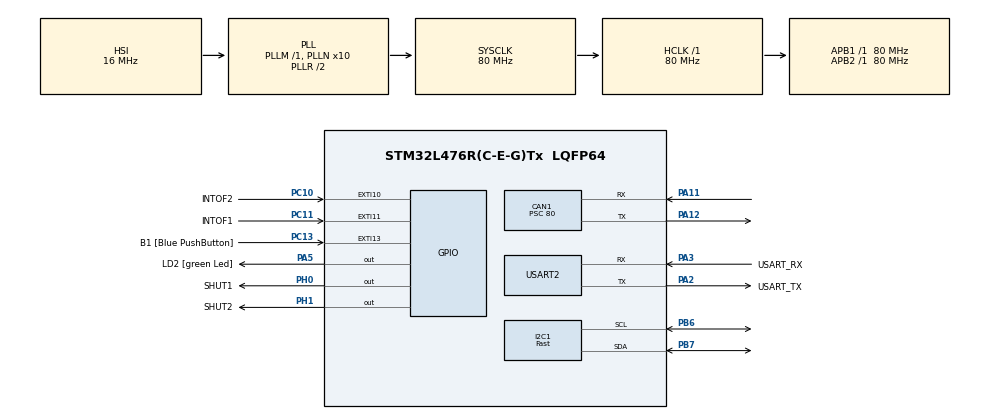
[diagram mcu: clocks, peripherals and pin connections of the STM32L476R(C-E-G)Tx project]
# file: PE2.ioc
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CAN1.BS1=CAN_BS1_6TQ
CAN1.BS2=CAN_BS2_3TQ
CAN1.CalculateBaudRate=100000
CAN1.CalculateTimeBit=10000
CAN1.CalculateTimeQuantum=1000.0
CAN1.Prescaler=80
I2C1.I2C_Speed_Mode=I2C_Fast
I2C1.Timing=0x00F12981
Mcu.Family=STM32L4
Mcu.Name=STM32L476R(C-E-G)Tx
Mcu.Package=LQFP64
NVIC.CAN1_RX0_IRQn=true\:0\:0\:false\:false\:true\:true\:true\:true
NVIC.CAN1_RX1_IRQn=true\:0\:0\:false\:false\:true\:true\:true\:true
NVIC.CAN1_SCE_IRQn=true\:0\:0\:false\:false\:true\:true\:true\:true
NVIC.CAN1_TX_IRQn=true\:0\:0\:false\:false\:true\:true\:true\:true
NVIC.EXTI15_10_IRQn=true\:0\:0\:false\:false\:true\:true\:true\:true
NVIC.PriorityGroup=NVIC_PRIORITYGROUP_4
NVIC.TIM7_IRQn=true\:0\:0\:false\:false\:true\:true\:true\:true
PA11.Mode=CAN_Activate
PA11.Signal=CAN1_RX
PA12.Mode=CAN_Activate
PA12.Signal=CAN1_TX
PA13\ (JTMS-SWDIO).GPIO_Label=TMS
PA13\ (JTMS-SWDIO).Mode=Serial_Wire
PA13\ (JTMS-SWDIO).Signal=SYS_JTMS-SWDIO
PA14\ (JTCK-SWCLK).GPIO_Label=TCK
PA14\ (JTCK-SWCLK).Mode=Serial_Wire
PA14\ (JTCK-SWCLK).Signal=SYS_JTCK-SWCLK
PA2.GPIO_Label=USART_TX
PA2.GPIO_Mode=GPIO_MODE_AF_PP
PA2.GPIO_PuPd=GPIO_NOPULL
PA2.GPIO_Speed=GPIO_SPEED_FREQ_VERY_HIGH
PA2.Mode=Asynchronous
PA2.Signal=USART2_TX
PA3.GPIO_Label=USART_RX
PA3.GPIO_Mode=GPIO_MODE_AF_PP
PA3.GPIO_PuPd=GPIO_NOPULL
PA3.GPIO_Speed=GPIO_SPEED_FREQ_VERY_HIGH
PA3.Mode=Asynchronous
PA3.Signal=USART2_RX
PA5.GPIO_Label=LD2 [green Led]
PA5.GPIO_ModeDefaultOutputPP=GPIO_MODE_OUTPUT_PP
PA5.GPIO_PuPd=GPIO_NOPULL
PA5.GPIO_Speed=GPIO_SPEED_FREQ_LOW
PA5.Signal=GPIO_Output
PB3\ (JTDO-TRACESWO).GPIO_Label=SWO
PB3\ (JTDO-TRACESWO).Signal=SYS_JTDO-SWO
PB6.Mode=I2C
PB6.Signal=I2C1_SCL
PB7.Mode=I2C
PB7.Signal=I2C1_SDA
PC10.GPIO_Label=INTOF2
PC10.GPIO_ModeDefaultEXTI=GPIO_MODE_IT_FALLING
PC10.Signal=GPXTI10
PC11.GPIO_Label=INTOF1
PC11.GPIO_ModeDefaultEXTI=GPIO_MODE_IT_FALLING
PC11.Signal=GPXTI11
PC13.GPIO_Label=B1 [Blue PushButton]
PC13.GPIO_ModeDefaultEXTI=GPIO_MODE_IT_FALLING
PC13.GPIO_PuPd=GPIO_NOPULL
PC13.Signal=GPXTI13
PC14-OSC32_IN\ (PC14).Mode=LSE-External-Oscillator
PC14-OSC32_IN\ (PC14).Signal=RCC_OSC32_IN
PC15-OSC32_OUT\ (PC15).Mode=LSE-External-Oscillator
PC15-OSC32_OUT\ (PC15).Signal=RCC_OSC32_OUT
PH0-OSC_IN\ (PH0).GPIO_Label=SHUT1
PH0-OSC_IN\ (PH0).Signal=GPIO_Output
PH1-OSC_OUT\ (PH1).GPIO_Label=SHUT2
PH1-OSC_OUT\ (PH1).Signal=GPIO_Output
ProjectManager.HeapSize=0x200
ProjectManager.StackSize=0x400
ProjectManager.TargetToolchain=STM32CubeIDE
RCC.ADCFreq_Value=64000000
RCC.AHBFreq_Value=80000000
RCC.APB1Freq_Value=80000000
RCC.APB1TimFreq_Value=80000000
RCC.APB2Freq_Value=80000000
RCC.APB2TimFreq_Value=80000000
RCC.CortexFreq_Value=80000000
RCC.HCLKFreq_Value=80000000
RCC.HSE_VALUE=8000000
RCC.HSI_VALUE=16000000
RCC.MSI_VALUE=4000000
RCC.PLLN=10
RCC.PLLSourceVirtual=RCC_PLLSOURCE_HSI
RCC.PREFETCH_ENABLE=1
RCC.SYSCLKFreq_VALUE=80000000
RCC.SYSCLKSource=RCC_SYSCLKSOURCE_PLLCLK
RCC.USBFreq_Value=64000000
RCC.VCOOutputFreq_Value=160000000
TIM7.Period=2000-1
TIM7.Prescaler=40000-1
USART2.VirtualMode-Asynchronous=VM_ASYNC
VP_TIM7_VS_ClockSourceINT.Mode=Enable_Timer
board=NUCLEO-L476RG

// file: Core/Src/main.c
/* USER CODE BEGIN Header */
/**
  ******************************************************************************
  * @file           : main.c
  * @brief          : Main program body
  ******************************************************************************
  * @attention
  *
  * Copyright (c) 2025 STMicroelectronics.
  * All rights reserved.
  *
  * This software is licensed under terms that can be found in the LICENSE file
  * in the root directory of this software component.
  * If no LICENSE file comes with this software, it is provided AS-IS.
  *
  ******************************************************************************
  */
/* USER CODE END Header */
#include "main.h"

/* USER CODE BEGIN Includes */

 #include"ssd1306.h"
#include "../../Drivers/VL53L1_Nucleo/core/inc/vl53l1_api.h"
/* USER CODE END Includes */

/* USER CODE BEGIN PD */

VL53L1_Dev_t devLeft;
VL53L1_Dev_t devRight;
VL53L1_DEV Dev;
VL53L1_DEV Dev2;
uint8_t ToFSensor = 0;
uint8_t ToFSensor2 = 0;
VL53L1_RangingMeasurementData_t RangingData;
VL53L1_RangingMeasurementData_t RangingData2;
uint16_t Dist_Obst_G;
uint16_t Dist_Obst_G2;
uint8_t txData[4];
char str[10];
/* USER CODE END PD */

/* USER CODE BEGIN PM */

void ResetAndInitializeTOF1(void );

void ResetAndInitializeTOF2(void );
/* USER CODE END PM */

CAN_HandleTypeDef hcan1;

I2C_HandleTypeDef hi2c1;

TIM_HandleTypeDef htim7;

UART_HandleTypeDef huart2;

/* USER CODE BEGIN PV */
uint16_t message;
CAN_TxHeaderTypeDef TxHeader;  // En-tête de la trame reçue
uint8_t TxData[2]; // Octets envoyés
uint16_t value1;
uint16_t value2;
uint32_t TxMailbox; // Identifiant de la mailbox d'émission
/* USER CODE END PV */

void SystemClock_Config(void);
static void MX_GPIO_Init(void);
static void MX_USART2_UART_Init(void);
static void MX_CAN1_Init(void);
static void MX_TIM7_Init(void);
static void MX_I2C1_Init(void);

int main(void)
{

  /* MCU Configuration--------------------------------------------------------*/

  /* Reset of all peripherals, Initializes the Flash interface and the Systick. */
  HAL_Init();

  /* Configure the system clock */
  SystemClock_Config();

  /* Initialize all configured peripherals */
  MX_GPIO_Init();
  MX_USART2_UART_Init();
  MX_CAN1_Init();
  MX_TIM7_Init();
  MX_I2C1_Init();
  /* USER CODE BEGIN 2 */
  HAL_TIM_Base_Start_IT(&htim7);

  	// Démarrage du bus CAN
  	HAL_CAN_Start(&hcan1);

  	// On choisit les callbacks d'interruptions
  	HAL_CAN_ActivateNotification(&hcan1,CAN_IT_RX_FIFO0_MSG_PENDING );
  	HAL_CAN_ActivateNotification(&hcan1,CAN_IT_TX_MAILBOX_EMPTY );

  	// Configuration des filtres
  	CAN_FilterTypeDef sFilterConfig;
  	sFilterConfig.FilterBank = 0;
  	sFilterConfig.FilterMode = CAN_FILTERMODE_IDLIST; // On donne une liste d'identifiants
  	sFilterConfig.FilterScale = CAN_FILTERSCALE_16BIT;
  	// Valeurs de l'ID à filtrer, codée sur 11 bits, alignée à gauche sur 16 bits
  	// ID = 0x11 = 00000010001 (11 bits)
  	// FILTRE = 0x220 = 00000010 00100000 (11 bits alignés à gauche dans un uint16_t)
  	sFilterConfig.FilterIdHigh = 0x0220; // soit 0x11 << 5
  	sFilterConfig.FilterIdLow = 0x0220;
  	sFilterConfig.FilterMaskIdHigh = 0x0220;
  	sFilterConfig.FilterMaskIdLow = 0x0220;
  	sFilterConfig.FilterFIFOAssignment = CAN_FILTER_FIFO0;
  	sFilterConfig.FilterActivation = ENABLE;
  	HAL_CAN_ConfigFilter(&hcan1, &sFilterConfig );

  	// Message à envoyer
  	TxHeader.IDE = CAN_ID_STD; // Identifiant codé sur 11 bits
  	TxHeader.RTR = CAN_RTR_DATA; // Trame de données
  	TxHeader.StdId = 0x11; // Identifiant

  	TxHeader.DLC = 4;
  	txData[0] = (value1 >> 8) & 0xFF;  // high byte of tof1
  	txData[1] = value1 & 0xFF;         // low byte of tof1
  	txData[2] = (value2 >> 8) & 0xFF;  // high byte of tof2
  	txData[3] = value2 & 0xFF;         // low byte of tof2

	 ResetAndInitializeTOF1();

	 ResetAndInitializeTOF2();
  /* USER CODE END 2 */

  /* Infinite loop */
  while (1)
  {

  }
}

void SystemClock_Config(void)
{
  RCC_OscInitTypeDef RCC_OscInitStruct = {0};
  RCC_ClkInitTypeDef RCC_ClkInitStruct = {0};

  /** Configure the main internal regulator output voltage
  */
  if (HAL_PWREx_ControlVoltageScaling(PWR_REGULATOR_VOLTAGE_SCALE1) != HAL_OK)
  {
    Error_Handler();
  }

  /** Initializes the RCC Oscillators according to the specified parameters
  * in the RCC_OscInitTypeDef structure.
  */
  RCC_OscInitStruct.OscillatorType = RCC_OSCILLATORTYPE_HSI;
  RCC_OscInitStruct.HSIState = RCC_HSI_ON;
  RCC_OscInitStruct.HSICalibrationValue = RCC_HSICALIBRATION_DEFAULT;
  RCC_OscInitStruct.PLL.PLLState = RCC_PLL_ON;
  RCC_OscInitStruct.PLL.PLLSource = RCC_PLLSOURCE_HSI;
  RCC_OscInitStruct.PLL.PLLM = 1;
  RCC_OscInitStruct.PLL.PLLN = 10;
  RCC_OscInitStruct.PLL.PLLP = RCC_PLLP_DIV7;
  RCC_OscInitStruct.PLL.PLLQ = RCC_PLLQ_DIV2;
  RCC_OscInitStruct.PLL.PLLR = RCC_PLLR_DIV2;
  if (HAL_RCC_OscConfig(&RCC_OscInitStruct) != HAL_OK)
  {
    Error_Handler();
  }

  /** Initializes the CPU, AHB and APB buses clocks
  */
  RCC_ClkInitStruct.ClockType = RCC_CLOCKTYPE_HCLK|RCC_CLOCKTYPE_SYSCLK
                              |RCC_CLOCKTYPE_PCLK1|RCC_CLOCKTYPE_PCLK2;
  RCC_ClkInitStruct.SYSCLKSource = RCC_SYSCLKSOURCE_PLLCLK;
  RCC_ClkInitStruct.AHBCLKDivider = RCC_SYSCLK_DIV1;
  RCC_ClkInitStruct.APB1CLKDivider = RCC_HCLK_DIV1;
  RCC_ClkInitStruct.APB2CLKDivider = RCC_HCLK_DIV1;

  if (HAL_RCC_ClockConfig(&RCC_ClkInitStruct, FLASH_LATENCY_4) != HAL_OK)
  {
    Error_Handler();
  }
}

static void MX_CAN1_Init(void)
{

  hcan1.Instance = CAN1;
  hcan1.Init.Prescaler = 80;
  hcan1.Init.Mode = CAN_MODE_NORMAL;
  hcan1.Init.SyncJumpWidth = CAN_SJW_1TQ;
  hcan1.Init.TimeSeg1 = CAN_BS1_6TQ;
  hcan1.Init.TimeSeg2 = CAN_BS2_3TQ;
  hcan1.Init.TimeTriggeredMode = DISABLE;
  hcan1.Init.AutoBusOff = DISABLE;
  hcan1.Init.AutoWakeUp = DISABLE;
  hcan1.Init.AutoRetransmission = DISABLE;
  hcan1.Init.ReceiveFifoLocked = DISABLE;
  hcan1.Init.TransmitFifoPriority = DISABLE;
  if (HAL_CAN_Init(&hcan1) != HAL_OK)
  {
    Error_Handler();
  }

}

static void MX_I2C1_Init(void)
{

  hi2c1.Instance = I2C1;
  hi2c1.Init.Timing = 0x00F12981;
  hi2c1.Init.OwnAddress1 = 0;
  hi2c1.Init.AddressingMode = I2C_ADDRESSINGMODE_7BIT;
  hi2c1.Init.DualAddressMode = I2C_DUALADDRESS_DISABLE;
  hi2c1.Init.OwnAddress2 = 0;
  hi2c1.Init.OwnAddress2Masks = I2C_OA2_NOMASK;
  hi2c1.Init.GeneralCallMode = I2C_GENERALCALL_DISABLE;
  hi2c1.Init.NoStretchMode = I2C_NOSTRETCH_DISABLE;
  if (HAL_I2C_Init(&hi2c1) != HAL_OK)
  {
    Error_Handler();
  }

  /** Configure Analogue filter
  */
  if (HAL_I2CEx_ConfigAnalogFilter(&hi2c1, I2C_ANALOGFILTER_ENABLE) != HAL_OK)
  {
    Error_Handler();
  }

  /** Configure Digital filter
  */
  if (HAL_I2CEx_ConfigDigitalFilter(&hi2c1, 0) != HAL_OK)
  {
    Error_Handler();
  }

}

static void MX_TIM7_Init(void)
{

  TIM_MasterConfigTypeDef sMasterConfig = {0};

  htim7.Instance = TIM7;
  htim7.Init.Prescaler = 40000-1;
  htim7.Init.CounterMode = TIM_COUNTERMODE_UP;
  htim7.Init.Period = 2000-1;
  htim7.Init.AutoReloadPreload = TIM_AUTORELOAD_PRELOAD_DISABLE;
  if (HAL_TIM_Base_Init(&htim7) != HAL_OK)
  {
    Error_Handler();
  }
  sMasterConfig.MasterOutputTrigger = TIM_TRGO_RESET;
  sMasterConfig.MasterSlaveMode = TIM_MASTERSLAVEMODE_DISABLE;
  if (HAL_TIMEx_MasterConfigSynchronization(&htim7, &sMasterConfig) != HAL_OK)
  {
    Error_Handler();
  }

}

static void MX_USART2_UART_Init(void)
{

  huart2.Instance = USART2;
  huart2.Init.BaudRate = 115200;
  huart2.Init.WordLength = UART_WORDLENGTH_8B;
  huart2.Init.StopBits = UART_STOPBITS_1;
  huart2.Init.Parity = UART_PARITY_NONE;
  huart2.Init.Mode = UART_MODE_TX_RX;
  huart2.Init.HwFlowCtl = UART_HWCONTROL_NONE;
  huart2.Init.OverSampling = UART_OVERSAMPLING_16;
  huart2.Init.OneBitSampling = UART_ONE_BIT_SAMPLE_DISABLE;
  huart2.AdvancedInit.AdvFeatureInit = UART_ADVFEATURE_NO_INIT;
  if (HAL_UART_Init(&huart2) != HAL_OK)
  {
    Error_Handler();
  }

}

static void MX_GPIO_Init(void)
{
  GPIO_InitTypeDef GPIO_InitStruct = {0};

  /* GPIO Ports Clock Enable */
  __HAL_RCC_GPIOC_CLK_ENABLE();
  __HAL_RCC_GPIOH_CLK_ENABLE();
  __HAL_RCC_GPIOA_CLK_ENABLE();
  __HAL_RCC_GPIOB_CLK_ENABLE();

  /*Configure GPIO pin Output Level */
  HAL_GPIO_WritePin(GPIOH, SHUT1_Pin|SHUT2_Pin, GPIO_PIN_RESET);

  /*Configure GPIO pin Output Level */
  HAL_GPIO_WritePin(LD2_GPIO_Port, LD2_Pin, GPIO_PIN_RESET);

  /*Configure GPIO pins : B1_Pin INTOF2_Pin INTOF1_Pin */
  GPIO_InitStruct.Pin = B1_Pin|INTOF2_Pin|INTOF1_Pin;
  GPIO_InitStruct.Mode = GPIO_MODE_IT_FALLING;
  GPIO_InitStruct.Pull = GPIO_NOPULL;
  HAL_GPIO_Init(GPIOC, &GPIO_InitStruct);

  /*Configure GPIO pins : SHUT1_Pin SHUT2_Pin */
  GPIO_InitStruct.Pin = SHUT1_Pin|SHUT2_Pin;
  GPIO_InitStruct.Mode = GPIO_MODE_OUTPUT_PP;
  GPIO_InitStruct.Pull = GPIO_NOPULL;
  GPIO_InitStruct.Speed = GPIO_SPEED_FREQ_LOW;
  HAL_GPIO_Init(GPIOH, &GPIO_InitStruct);

  /*Configure GPIO pin : LD2_Pin */
  GPIO_InitStruct.Pin = LD2_Pin;
  GPIO_InitStruct.Mode = GPIO_MODE_OUTPUT_PP;
  GPIO_InitStruct.Pull = GPIO_NOPULL;
  GPIO_InitStruct.Speed = GPIO_SPEED_FREQ_LOW;
  HAL_GPIO_Init(LD2_GPIO_Port, &GPIO_InitStruct);

  /* EXTI interrupt init*/
  HAL_NVIC_SetPriority(EXTI15_10_IRQn, 0, 0);
  HAL_NVIC_EnableIRQ(EXTI15_10_IRQn);

}

/* USER CODE BEGIN 4 */

void HAL_GPIO_EXTI_Callback(uint16_t GPIO_Pin) {

	if (GPIO_Pin == INTOF1_Pin)
	    {
	        VL53L1_RangingMeasurementData_t RangingData;
	        Dev = &devLeft; // Use the correct device handle
	        VL53L1_GetRangingMeasurementData(Dev, &RangingData);
	        value1 = RangingData.RangeMilliMeter;
	      	txData[0] = (value1 >> 8) & 0xFF;
	      	txData[1] = value1 & 0xFF;

	        // Clear interrupt and start next measurement
	        VL53L1_ClearInterruptAndStartMeasurement(Dev);
	    }
	    else if (GPIO_Pin == INTOF2_Pin)
	    {

	        VL53L1_RangingMeasurementData_t RangingData;
	        Dev = &devRight;
	        VL53L1_GetRangingMeasurementData(Dev, &RangingData);
	        value2 = RangingData.RangeMilliMeter;
	      	txData[2] = (value2 >> 8) & 0xFF;
	      	txData[3] = value2 & 0xFF;

	        VL53L1_ClearInterruptAndStartMeasurement(Dev);
	    }
}

// Callback de fin de transmission d'un message depuis la mailbox 0
void HAL_CAN_TxMailbox0CompleteCallback(CAN_HandleTypeDef *hcan)
{
  /* Prevent unused argument(s) compilation warning */
  UNUSED(hcan);
}

// Interruption périodique du timer 7, envoi d'un message toutes les secondes
void HAL_TIM_PeriodElapsedCallback(TIM_HandleTypeDef *htim)
{
	if(htim == &htim7)
	{
		HAL_CAN_AddTxMessage(&hcan1, &TxHeader, txData, &TxMailbox);

	}
}

///

void ResetAndInitializeTOF1(void) {
    VL53L1_DetectionConfig_t DetectionConfig;
    uint8_t newI2C = 0x54; // New I2C address for first sensor

    // Reset both sensors to avoid I2C conflict
    HAL_GPIO_WritePin(GPIOH, SHUT1_Pin, GPIO_PIN_RESET);
    HAL_GPIO_WritePin(GPIOH, SHUT2_Pin, GPIO_PIN_RESET);
    HAL_Delay(10);

    // Bring up only sensor 1
    HAL_GPIO_WritePin(GPIOH, SHUT1_Pin, GPIO_PIN_SET);
    HAL_Delay(5);

    // Assign device handle
    Dev = &devLeft;
    Dev->comms_speed_khz = 400;
    Dev->I2cHandle = &hi2c1;
    Dev->comms_type = 1;
    Dev->I2cDevAddr = 0x52; // Default address

    // Change address to avoid conflict
    VL53L1_SetDeviceAddress(Dev, newI2C);
    Dev->I2cDevAddr = newI2C;

    // Initialize and configure sensor
    VL53L1_WaitDeviceBooted(Dev);
    VL53L1_DataInit(Dev);
    VL53L1_StaticInit(Dev);
    VL53L1_SetDistanceMode(Dev, VL53L1_DISTANCEMODE_LONG);
    VL53L1_SetMeasurementTimingBudgetMicroSeconds(Dev, 40000);
    VL53L1_SetInterMeasurementPeriodMilliSeconds(Dev, 50);

    memset(&DetectionConfig, 0, sizeof(DetectionConfig));
    DetectionConfig.DetectionMode = VL53L1_DETECTION_DISTANCE_ONLY;
    DetectionConfig.IntrNoTarget = 0;
    DetectionConfig.Distance.CrossMode = VL53L1_THRESHOLD_IN_WINDOW;
    DetectionConfig.Distance.Low = 0;
    DetectionConfig.Distance.High = 300;
    VL53L1_SetThresholdConfig(Dev, &DetectionConfig);

    VL53L1_UserRoi_t roiConfig;
    roiConfig.TopLeftX = 0;
    roiConfig.TopLeftY = 15;
    roiConfig.BotRightX = 15;
    roiConfig.BotRightY = 0;
    VL53L1_SetUserROI(Dev, &roiConfig);

    VL53L1_ClearInterruptAndStartMeasurement(Dev);
}

void ResetAndInitializeTOF2(void) {
    VL53L1_DetectionConfig_t DetectionConfig;

    // Keep sensor 1 on, but reset sensor 2
    HAL_GPIO_WritePin(GPIOH, SHUT2_Pin, GPIO_PIN_RESET);
    HAL_Delay(10);
    HAL_GPIO_WritePin(GPIOH, SHUT2_Pin, GPIO_PIN_SET);
    HAL_Delay(5);

    // Assign device handle
    Dev = &devRight;
    Dev->comms_speed_khz = 400;
    Dev->I2cHandle = &hi2c1;
    Dev->comms_type = 1;
    Dev->I2cDevAddr = 0x52; // Keep default address

    // Initialize and configure sensor
    VL53L1_WaitDeviceBooted(Dev);
    VL53L1_DataInit(Dev);
    VL53L1_StaticInit(Dev);
    VL53L1_SetDistanceMode(Dev, VL53L1_DISTANCEMODE_LONG);
    VL53L1_SetMeasurementTimingBudgetMicroSeconds(Dev, 40000);
    VL53L1_SetInterMeasurementPeriodMilliSeconds(Dev, 50);

    memset(&DetectionConfig, 0, sizeof(DetectionConfig));
    DetectionConfig.DetectionMode = VL53L1_DETECTION_DISTANCE_ONLY;
    DetectionConfig.IntrNoTarget = 0;
    DetectionConfig.Distance.CrossMode = VL53L1_THRESHOLD_IN_WINDOW;
    DetectionConfig.Distance.Low = 0;
    DetectionConfig.Distance.High = 300;
    VL53L1_SetThresholdConfig(Dev, &DetectionConfig);

    VL53L1_UserRoi_t roiConfig;
    roiConfig.TopLeftX = 0;
    roiConfig.TopLeftY = 15;
    roiConfig.BotRightX = 15;
    roiConfig.BotRightY = 0;
    VL53L1_SetUserROI(Dev, &roiConfig);

    VL53L1_ClearInterruptAndStartMeasurement(Dev);
}

/* USER CODE END 4 */

void Error_Handler(void)
{
  __disable_irq();
  while (1)
  {
  }
}
